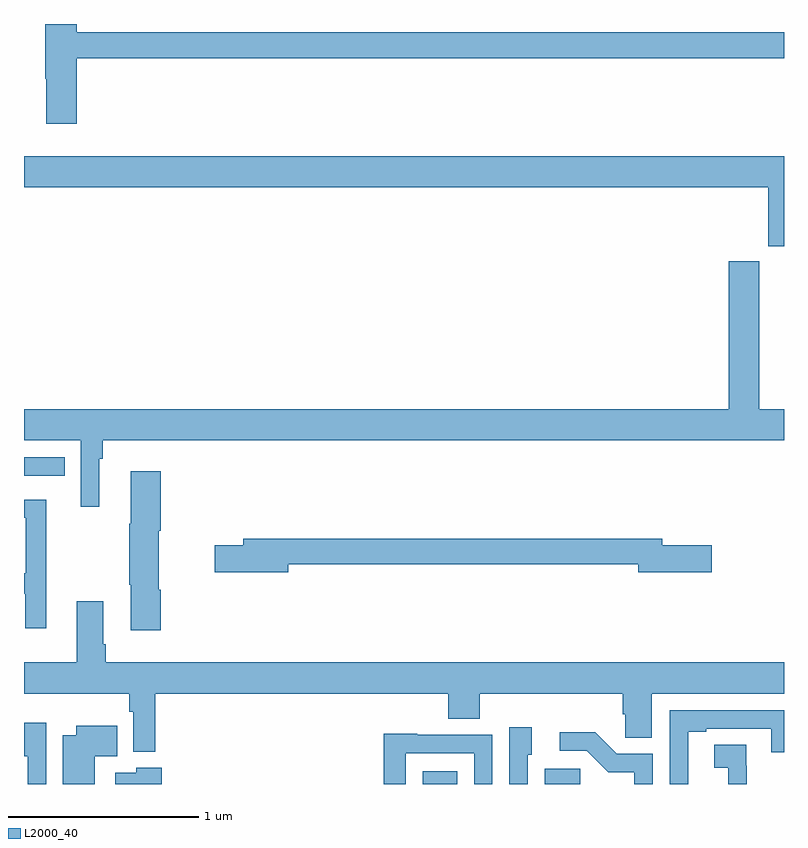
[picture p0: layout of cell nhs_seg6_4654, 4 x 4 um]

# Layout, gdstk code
import gdstk
lib = gdstk.Library(unit=1e-6, precision=1e-09)
def R(c, l, rs):  # rectangles x0, y0, x1, y1
    for r in rs: c.add(gdstk.rectangle(r[:2], r[2:], *l))
def P(c, l, *ps):  # polygons
    for p in ps: c.add(gdstk.Polygon(p, *l))
L2000_40 = (2000, 40)

nhs_seg6_4654 = lib.new_cell('nhs_seg6_4654')
R(nhs_seg6_4654, L2000_40, [(387.098,973.5,387.28,973.567), (387.74,973.5,387.927,973.581), (385,975.123,385.214,975.219)])
P(nhs_seg6_4654, L2000_40, [(385.277,977.32),(389,977.32),(389,977.456),(385.277,977.456),(385.277,977.5),(385.111,977.5),(385.111,977.212),(385.118,977.212),(385.118,976.974),(385.277,976.974)],
  [(389,976.804),(385,976.804),(385,976.64),(388.916,976.64),(388.916,976.331),(389,976.331)],
  [(385.396,975.212),(385.415,975.212),(385.415,975.308),(389,975.308),(389,975.472),(388.869,975.472),(388.869,976.252),(388.709,976.252),(388.709,975.472),(385,975.472),(385,975.308),(385.299,975.308),(385.299,974.958),(385.396,974.958)],
  [(385.721,974.522),(385.708,974.522),(385.708,974.832),(385.721,974.832),(385.721,975.145),(385.562,975.145),(385.562,974.87),(385.555,974.87),(385.555,974.548),(385.562,974.548),(385.562,974.31),(385.721,974.31)],
  [(385.117,974.995),(385,974.995),(385,974.901),(385.008,974.901),(385.008,974.61),(385,974.61),(385,974.502),(385.007,974.502),(385.007,974.319),(385.117,974.319)],
  [(386.392,974.656),(388.232,974.656),(388.232,974.614),(388.621,974.614),(388.621,974.756),(388.36,974.756),(388.36,974.792),(386.153,974.792),(386.153,974.756),(386.004,974.756),(386.004,974.614),(386.392,974.614)],
  [(385.691,973.976),(387.233,973.976),(387.233,973.843),(387.398,973.843),(387.398,973.976),(388.151,973.976),(388.151,973.867),(388.164,973.867),(388.164,973.744),(388.303,973.744),(388.303,973.976),(389,973.976),(389,974.14),(385.43,974.14),(385.43,974.236),(385.417,974.236),(385.417,974.461),(385.277,974.461),(385.277,974.14),(385,974.14),(385,973.976),(385.555,973.976),(385.555,973.88),(385.575,973.88),(385.575,973.67),(385.691,973.67)],
  [(388.495,973.776),(388.591,973.776),(388.591,973.791),(388.932,973.791),(388.932,973.668),(389,973.668),(389,973.887),(388.398,973.887),(388.398,973.5),(388.495,973.5)],
  [(385.116,973.822),(385,973.822),(385,973.645),(385.019,973.645),(385.019,973.5),(385.116,973.5)],
  [(385.372,973.646),(385.49,973.646),(385.49,973.807),(385.274,973.807),(385.274,973.756),(385.205,973.756),(385.205,973.5),(385.372,973.5)],
  [(387.651,973.653),(387.673,973.653),(387.673,973.798),(387.555,973.798),(387.555,973.5),(387.651,973.5)],
  [(388.308,973.659),(388.119,973.659),(388.006,973.772),(387.819,973.772),(387.819,973.674),(387.963,973.674),(388.074,973.563),(388.212,973.563),(388.212,973.5),(388.308,973.5)],
  [(387.009,973.662),(387.369,973.662),(387.369,973.5),(387.465,973.5),(387.465,973.758),(387.069,973.758),(387.069,973.765),(386.893,973.765),(386.893,973.5),(387.009,973.5)],
  [(388.804,973.595),(388.802,973.595),(388.802,973.706),(388.632,973.706),(388.632,973.585),(388.706,973.585),(388.706,973.5),(388.804,973.5)],
  [(385.724,973.585),(385.59,973.585),(385.59,973.558),(385.481,973.558),(385.481,973.5),(385.724,973.5)])

lib.write_gds('nhs_seg6_4654.gds')
